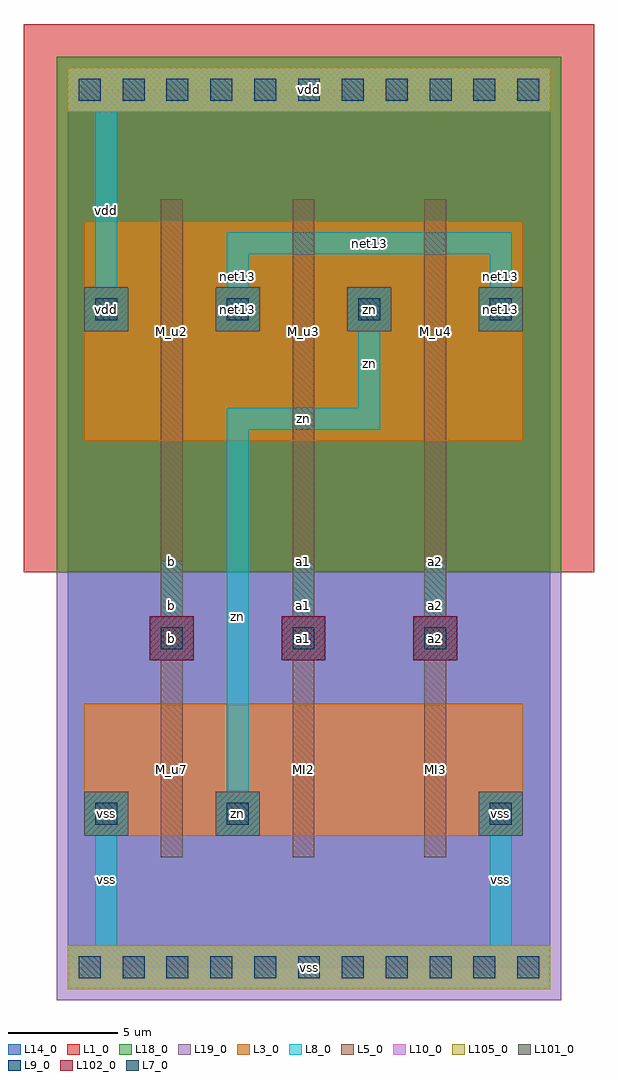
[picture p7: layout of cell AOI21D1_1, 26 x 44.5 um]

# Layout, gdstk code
import gdstk
lib = gdstk.Library(unit=1e-6, precision=2.5e-07)
def R(c, l, rs):  # rectangles x0, y0, x1, y1
    for r in rs: c.add(gdstk.rectangle(r[:2], r[2:], *l))
def A(c, l, x, y, w, h, nx, ny, dx, dy):  # array of equal rectangles
    R(c, l, [(x+i*dx, y+j*dy, x+i*dx+w, y+j*dy+h) for i in range(nx) for j in range(ny)])
L1_0 = (1, 0)
L3_0 = (3, 0)
L5_0 = (5, 0)
L7_0 = (7, 0)
L8_0 = (8, 0)
L9_0 = (9, 0)
L10_0 = (10, 0)
L13_0 = (13, 0)
L14_0 = (14, 0)
L18_0 = (18, 0)
L19_0 = (19, 0)
L101_0 = (101, 0)
L102_0 = (102, 0)
L105_0 = (105, 0)

aoi21d1_1 = lib.new_cell('AOI21D1_1')
R(aoi21d1_1, L1_0, [(-2,18,24,43)])
A(aoi21d1_1, L3_0, 0.75, 6, 8, 6, 3, 1, 6, 0)
A(aoi21d1_1, L3_0, 0.75, 24, 8, 10, 3, 1, 6, 0)
A(aoi21d1_1, L3_0, 0.75, 29, 2, 2, 4, 1, 6, 0)
R(aoi21d1_1, L3_0, [(0.75,6,2.75,8), (6.75,6,8.75,8), (18.75,6,20.75,8)])
A(aoi21d1_1, L5_0, 4.25, 5, 1, 8, 3, 1, 6, 0)
A(aoi21d1_1, L5_0, 4.25, 6.5, 1, 24, 3, 1, 6, 0)
A(aoi21d1_1, L5_0, 3.75, 14, 2, 2, 3, 1, 6, 0)
A(aoi21d1_1, L5_0, 4.25, 23, 1, 12, 3, 1, 6, 0)
A(aoi21d1_1, L7_0, 4.25, 14.5, 1, 1, 3, 1, 6, 0)
A(aoi21d1_1, L7_0, 1.25, 29.5, 1, 1, 4, 1, 6, 0)
R(aoi21d1_1, L7_0, [(1.25,6.5,2.25,7.5), (7.25,6.5,8.25,7.5), (19.25,6.5,20.25,7.5)])
A(aoi21d1_1, L8_0, 3.75, 14, 2, 2, 3, 1, 6, 0)
A(aoi21d1_1, L8_0, 4.25, 14.5, 1, 4, 3, 1, 6, 0)
A(aoi21d1_1, L8_0, 0.75, 29, 2, 2, 4, 1, 6, 0)
R(aoi21d1_1, L8_0, [(0,-1,22,1), (1.25,0.5,2.25,7.5), (19.25,0.5,20.25,7.5), (0.75,6,2.75,8), (6.75,6,8.75,8), (18.75,6,20.75,8), (7.25,6.5,8.25,25.5), (7.25,24.5,14.25,25.5), (13.25,24.5,14.25,30.5), (1.25,29.5,2.25,39.5), (7.25,29.5,8.25,33.5), (19.25,29.5,20.25,33.5), (7.25,32.5,20.25,33.5), (0,39,22,41)])
A(aoi21d1_1, L9_0, 0.5, -0.5, 1, 1, 11, 2, 2, 40)
R(aoi21d1_1, L10_0, [(0,-1,22,1), (0,39,22,41)])
R(aoi21d1_1, L14_0, [(0,0,22,40)])
R(aoi21d1_1, L18_0, [(-0.5,18,22.5,38.5), (-0.5,38.5,22.5,41.5)])
R(aoi21d1_1, L19_0, [(-0.5,-1.5,22.5,1.5), (-0.5,1.5,22.5,18)])
A(aoi21d1_1, L101_0, 0.75, 29, 2, 2, 4, 1, 6, 0)
R(aoi21d1_1, L101_0, [(0.75,6,2.75,8), (6.75,6,8.75,8), (18.75,6,20.75,8)])
A(aoi21d1_1, L102_0, 3.75, 14, 2, 2, 3, 1, 6, 0)
A(aoi21d1_1, L105_0, 0, -1, 2, 2, 11, 2, 2, 40)
aoi21d1_1.add(gdstk.FlexPath([(0.75,3),(20.75,3)], 0, ends="flush", simple_path=True, layer=13, datatype=0))  # L13_0
aoi21d1_1.add(gdstk.FlexPath([(0.75,7),(20.75,7)], 0, ends="flush", simple_path=True, layer=13, datatype=0))  # L13_0
aoi21d1_1.add(gdstk.FlexPath([(0.75,11),(20.75,11)], 0, ends="flush", simple_path=True, layer=13, datatype=0))  # L13_0
aoi21d1_1.add(gdstk.FlexPath([(0.75,15),(20.75,15)], 0, ends="flush", simple_path=True, layer=13, datatype=0))  # L13_0
aoi21d1_1.add(gdstk.FlexPath([(0.75,18),(20.75,18)], 0, ends="flush", simple_path=True, layer=13, datatype=0))  # L13_0
aoi21d1_1.add(gdstk.FlexPath([(0.75,21),(20.75,21)], 0, ends="flush", simple_path=True, layer=13, datatype=0))  # L13_0
aoi21d1_1.add(gdstk.FlexPath([(0.75,25),(20.75,25)], 0, ends="flush", simple_path=True, layer=13, datatype=0))  # L13_0
aoi21d1_1.add(gdstk.FlexPath([(0.75,30),(20.75,30)], 0, ends="flush", simple_path=True, layer=13, datatype=0))  # L13_0
aoi21d1_1.add(gdstk.FlexPath([(0.75,33),(20.75,33)], 0, ends="flush", simple_path=True, layer=13, datatype=0))  # L13_0
aoi21d1_1.add(gdstk.FlexPath([(0.75,37),(20.75,37)], 0, ends="flush", simple_path=True, layer=13, datatype=0))  # L13_0
aoi21d1_1.add(gdstk.FlexPath([(1.75,0.5),(1.75,39.5)], 0, ends="flush", simple_path=True, layer=13, datatype=0))  # L13_0
aoi21d1_1.add(gdstk.FlexPath([(4.75,0.5),(4.75,39.5)], 0, ends="flush", simple_path=True, layer=13, datatype=0))  # L13_0
aoi21d1_1.add(gdstk.FlexPath([(7.75,0.5),(7.75,39.5)], 0, ends="flush", simple_path=True, layer=13, datatype=0))  # L13_0
aoi21d1_1.add(gdstk.FlexPath([(10.75,0.5),(10.75,39.5)], 0, ends="flush", simple_path=True, layer=13, datatype=0))  # L13_0
aoi21d1_1.add(gdstk.FlexPath([(13.75,0.5),(13.75,39.5)], 0, ends="flush", simple_path=True, layer=13, datatype=0))  # L13_0
aoi21d1_1.add(gdstk.FlexPath([(16.75,0.5),(16.75,39.5)], 0, ends="flush", simple_path=True, layer=13, datatype=0))  # L13_0
aoi21d1_1.add(gdstk.FlexPath([(19.75,0.5),(19.75,39.5)], 0, ends="flush", simple_path=True, layer=13, datatype=0))  # L13_0
aoi21d1_1.add(gdstk.Label('MI2', (10.75,9), layer=3, texttype=0))
aoi21d1_1.add(gdstk.Label('MI3', (16.75,9), layer=3, texttype=0))
aoi21d1_1.add(gdstk.Label('M_u7', (4.75,9), layer=3, texttype=0))
aoi21d1_1.add(gdstk.Label('M_u4', (16.75,29), layer=3, texttype=0))
aoi21d1_1.add(gdstk.Label('M_u2', (4.75,29), layer=3, texttype=0))
aoi21d1_1.add(gdstk.Label('M_u3', (10.75,29), layer=3, texttype=0))
aoi21d1_1.add(gdstk.Label('zn', (7.75,7), layer=3, texttype=0))
aoi21d1_1.add(gdstk.Label('zn', (13.75,30), layer=3, texttype=0))
aoi21d1_1.add(gdstk.Label('net13', (19.75,30), layer=3, texttype=0))
aoi21d1_1.add(gdstk.Label('net13', (7.75,30), layer=3, texttype=0))
aoi21d1_1.add(gdstk.Label('vss', (19.75,7), layer=3, texttype=0))
aoi21d1_1.add(gdstk.Label('vss', (1.75,7), layer=3, texttype=0))
aoi21d1_1.add(gdstk.Label('vdd', (1.75,30), layer=3, texttype=0))
aoi21d1_1.add(gdstk.Label('zn', (7.75,7), layer=101, texttype=0))
aoi21d1_1.add(gdstk.Label('zn', (13.75,30), layer=101, texttype=0))
aoi21d1_1.add(gdstk.Label('net13', (19.75,30), layer=101, texttype=0))
aoi21d1_1.add(gdstk.Label('net13', (7.75,30), layer=101, texttype=0))
aoi21d1_1.add(gdstk.Label('vss', (19.75,7), layer=101, texttype=0))
aoi21d1_1.add(gdstk.Label('vss', (1.75,7), layer=101, texttype=0))
aoi21d1_1.add(gdstk.Label('vdd', (1.75,30), layer=101, texttype=0))
aoi21d1_1.add(gdstk.Label('zn', (7.75,7), layer=8, texttype=0))
aoi21d1_1.add(gdstk.Label('zn', (13.75,30), layer=8, texttype=0))
aoi21d1_1.add(gdstk.Label('zn', (7.75,16), layer=8, texttype=0))
aoi21d1_1.add(gdstk.Label('zn', (10.75,25), layer=8, texttype=0))
aoi21d1_1.add(gdstk.Label('zn', (13.75,27.5), layer=8, texttype=0))
aoi21d1_1.add(gdstk.Label('a1', (10.75,15), layer=8, texttype=0))
aoi21d1_1.add(gdstk.Label('a1', (10.75,16.5), layer=8, texttype=0))
aoi21d1_1.add(gdstk.Label('a2', (16.75,15), layer=8, texttype=0))
aoi21d1_1.add(gdstk.Label('a2', (16.75,16.5), layer=8, texttype=0))
aoi21d1_1.add(gdstk.Label('b', (4.75,15), layer=8, texttype=0))
aoi21d1_1.add(gdstk.Label('b', (4.75,16.5), layer=8, texttype=0))
aoi21d1_1.add(gdstk.Label('net13', (19.75,30), layer=8, texttype=0))
aoi21d1_1.add(gdstk.Label('net13', (7.75,30), layer=8, texttype=0))
aoi21d1_1.add(gdstk.Label('net13', (19.75,31.5), layer=8, texttype=0))
aoi21d1_1.add(gdstk.Label('net13', (13.75,33), layer=8, texttype=0))
aoi21d1_1.add(gdstk.Label('net13', (7.75,31.5), layer=8, texttype=0))
aoi21d1_1.add(gdstk.Label('vss', (19.75,7), layer=8, texttype=0))
aoi21d1_1.add(gdstk.Label('vss', (19.75,4), layer=8, texttype=0))
aoi21d1_1.add(gdstk.Label('vss', (1.75,7), layer=8, texttype=0))
aoi21d1_1.add(gdstk.Label('vss', (1.75,4), layer=8, texttype=0))
aoi21d1_1.add(gdstk.Label('vdd', (1.75,30), layer=8, texttype=0))
aoi21d1_1.add(gdstk.Label('vdd', (1.75,34.5), layer=8, texttype=0))
aoi21d1_1.add(gdstk.Label('vss', (11,0), layer=8, texttype=0))
aoi21d1_1.add(gdstk.Label('vdd', (11,40), layer=8, texttype=0))
aoi21d1_1.add(gdstk.Label('vss', (11,0), layer=10, texttype=0))
aoi21d1_1.add(gdstk.Label('vdd', (11,40), layer=10, texttype=0))
aoi21d1_1.add(gdstk.Label('a1', (10.75,18.5), layer=5, texttype=0))
aoi21d1_1.add(gdstk.Label('a1', (10.75,15), layer=5, texttype=0))
aoi21d1_1.add(gdstk.Label('a2', (16.75,18.5), layer=5, texttype=0))
aoi21d1_1.add(gdstk.Label('a2', (16.75,15), layer=5, texttype=0))
aoi21d1_1.add(gdstk.Label('b', (4.75,18.5), layer=5, texttype=0))
aoi21d1_1.add(gdstk.Label('b', (4.75,15), layer=5, texttype=0))
aoi21d1_1.add(gdstk.Label('a1', (10.75,15), layer=102, texttype=0))
aoi21d1_1.add(gdstk.Label('a2', (16.75,15), layer=102, texttype=0))
aoi21d1_1.add(gdstk.Label('b', (4.75,15), layer=102, texttype=0))

lib.write_gds('AOI21D1_1.gds')
